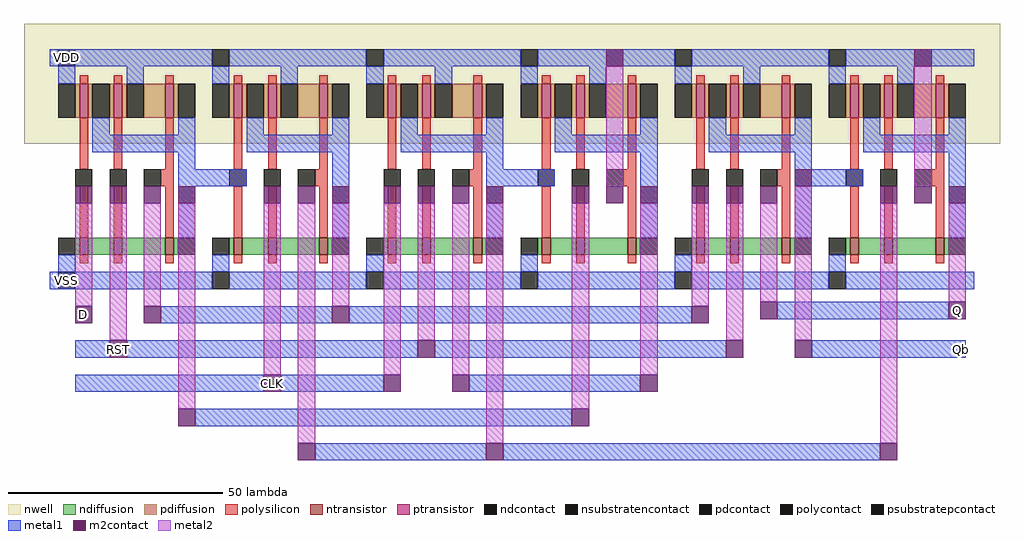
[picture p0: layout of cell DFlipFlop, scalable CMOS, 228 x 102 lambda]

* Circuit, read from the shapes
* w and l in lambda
.subckt DFlipFlop CLK D Q Qb RST VDD VSS
M1 n1 D VSS VSS nfet w=4 l=2
M2 n2 RST n1 VSS nfet w=4 l=2
M3 NAND3_1/A NAND3_4/A n2 VSS nfet w=4 l=2
M4 n3 NAND3_1/A VSS VSS nfet w=4 l=2
M5 n4 CLK n3 VSS nfet w=4 l=2
M6 NAND3_4/A NAND3_3/A n4 VSS nfet w=4 l=2
M7 n5 CLK VSS VSS nfet w=4 l=2
M8 n6 RST n5 VSS nfet w=4 l=2
M9 NAND3_3/A NAND3_2/C n6 VSS nfet w=4 l=2
M10 n7 NAND3_3/A VSS VSS nfet w=4 l=2
M11 n8 NAND3_1/A n7 VSS nfet w=4 l=2
M12 NAND3_2/C VDD n8 VSS nfet w=4 l=2
M13 n9 NAND3_4/A VSS VSS nfet w=4 l=2
M14 n10 RST n9 VSS nfet w=4 l=2
M15 Qb Q n10 VSS nfet w=4 l=2
M16 n11 Qb VSS VSS nfet w=4 l=2
M17 n12 NAND3_3/A n11 VSS nfet w=4 l=2
M18 Q VDD n12 VSS nfet w=4 l=2
M19 NAND3_1/A D VDD VDD pfet w=8 l=2
M20 VDD RST NAND3_1/A VDD pfet w=8 l=2
M21 NAND3_1/A NAND3_4/A VDD VDD pfet w=8 l=2
M22 NAND3_4/A NAND3_1/A VDD VDD pfet w=8 l=2
M23 VDD CLK NAND3_4/A VDD pfet w=8 l=2
M24 NAND3_4/A NAND3_3/A VDD VDD pfet w=8 l=2
M25 NAND3_3/A CLK VDD VDD pfet w=8 l=2
M26 VDD RST NAND3_3/A VDD pfet w=8 l=2
M27 NAND3_3/A NAND3_2/C VDD VDD pfet w=8 l=2
M28 NAND3_2/C NAND3_3/A VDD VDD pfet w=8 l=2
M29 VDD NAND3_1/A NAND3_2/C VDD pfet w=8 l=2
M30 NAND3_2/C VDD VDD VDD pfet w=8 l=2
M31 Qb NAND3_4/A VDD VDD pfet w=8 l=2
M32 VDD RST Qb VDD pfet w=8 l=2
M33 Qb Q VDD VDD pfet w=8 l=2
M34 Q Qb VDD VDD pfet w=8 l=2
M35 VDD NAND3_3/A Q VDD pfet w=8 l=2
M36 Q VDD VDD VDD pfet w=8 l=2
.ends

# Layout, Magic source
magic
tech scmos
<< metal1 >>
rect 0 52 6 56
rect 30 24 46 28
rect 102 24 118 28
rect 178 24 190 28
rect 0 0 6 4
rect 26 -8 66 -4
rect 70 -8 150 -4
rect 170 -7 210 -3
rect 6 -16 14 -12
rect 18 -16 86 -12
rect 90 -16 158 -12
rect 178 -16 214 -12
rect 6 -24 50 -20
rect 54 -24 78 -20
rect 98 -24 138 -20
rect 34 -32 122 -28
rect 62 -40 102 -36
rect 106 -40 194 -36
<< m2contact >>
rect 130 52 134 56
rect 202 52 206 56
rect 174 24 178 28
rect 6 20 10 24
rect 14 20 18 24
rect 22 20 26 24
rect 30 20 34 24
rect 50 20 54 24
rect 58 20 62 24
rect 66 20 70 24
rect 78 20 82 24
rect 86 20 90 24
rect 94 20 98 24
rect 102 20 106 24
rect 122 20 126 24
rect 130 20 134 24
rect 138 20 142 24
rect 150 20 154 24
rect 158 20 162 24
rect 166 20 170 24
rect 194 20 198 24
rect 202 20 206 24
rect 210 20 214 24
rect 6 -8 10 -4
rect 22 -8 26 -4
rect 66 -8 70 -4
rect 150 -8 154 -4
rect 166 -7 170 -3
rect 210 -7 214 -3
rect 14 -16 18 -12
rect 86 -16 90 -12
rect 158 -16 162 -12
rect 174 -16 178 -12
rect 50 -24 54 -20
rect 78 -24 82 -20
rect 94 -24 98 -20
rect 138 -24 142 -20
rect 30 -32 34 -28
rect 122 -32 126 -28
rect 58 -40 62 -36
rect 102 -40 106 -36
rect 194 -40 198 -36
<< metal2 >>
rect 130 24 134 52
rect 202 24 206 52
rect 6 -4 10 20
rect 14 -12 18 20
rect 22 -4 26 20
rect 30 -28 34 20
rect 50 -20 54 20
rect 58 -36 62 20
rect 66 -4 70 20
rect 78 -20 82 20
rect 86 -12 90 20
rect 94 -20 98 20
rect 102 -36 106 20
rect 122 -28 126 20
rect 138 -20 142 20
rect 150 -4 154 20
rect 158 -12 162 20
rect 166 -3 170 20
rect 174 -12 178 24
rect 194 -36 198 20
rect 210 -3 214 20
use NAND3  NAND3_0
transform 1 0 0 0 1 0
box -6 0 42 62
use NAND3  NAND3_1
transform 1 0 36 0 1 0
box -6 0 42 62
use NAND3  NAND3_2
transform 1 0 72 0 1 0
box -6 0 42 62
use NAND3  NAND3_3
transform 1 0 108 0 1 0
box -6 0 42 62
use NAND3  NAND3_4
transform 1 0 144 0 1 0
box -6 0 42 62
use NAND3  NAND3_5
transform 1 0 180 0 1 0
box -6 0 42 62
<< labels >>
rlabel m2contact 8 -6 8 -6 1 D
rlabel m2contact 16 -14 16 -14 1 RST
rlabel m2contact 52 -22 52 -22 1 CLK
rlabel metal1 4 2 4 2 1 VSS
rlabel metal1 4 54 4 54 1 VDD
rlabel m2contact 212 -5 212 -5 1 Q
rlabel metal1 213 -14 213 -14 1 Qb
<< end >>

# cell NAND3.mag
magic
tech scmos
<< nwell >>
rect -6 34 42 62
<< ntransistor >>
rect 7 8 9 12
rect 15 8 17 12
rect 27 8 29 12
<< ptransistor >>
rect 7 40 9 48
rect 15 40 17 48
rect 27 40 29 48
<< ndiffusion >>
rect 6 8 7 12
rect 9 8 15 12
rect 17 8 27 12
rect 29 8 30 12
<< pdiffusion >>
rect 6 40 7 48
rect 9 40 10 48
rect 14 40 15 48
rect 17 40 18 48
rect 22 40 27 48
rect 29 40 30 48
<< ndcontact >>
rect 2 8 6 12
rect 30 8 34 12
<< pdcontact >>
rect 2 40 6 48
rect 10 40 14 48
rect 18 40 22 48
rect 30 40 34 48
<< psubstratepcontact >>
rect 2 0 6 4
<< nsubstratencontact >>
rect 2 52 6 56
<< polysilicon >>
rect 7 48 9 50
rect 15 48 17 50
rect 27 48 29 50
rect 7 28 9 40
rect 15 28 17 40
rect 27 28 29 40
rect 26 24 29 28
rect 7 12 9 24
rect 15 12 17 24
rect 27 12 29 24
rect 7 6 9 8
rect 15 6 17 8
rect 27 6 29 8
<< polycontact >>
rect 6 24 10 28
rect 14 24 18 28
rect 22 24 26 28
<< metal1 >>
rect 0 52 2 56
rect 6 52 36 56
rect 2 48 6 52
rect 18 48 22 52
rect 10 36 14 40
rect 30 36 34 40
rect 10 32 34 36
rect 30 12 34 32
rect 2 4 6 8
rect 0 0 2 4
rect 6 0 36 4
<< labels >>
rlabel psubstratepcontact 4 2 4 2 1 VSS
rlabel nsubstratencontact 4 54 4 54 1 VDD
rlabel polycontact 24 26 24 26 1 C
rlabel metal1 32 26 32 26 1 Y
rlabel polycontact 8 26 8 26 1 A
rlabel polycontact 16 26 16 26 1 B
<< end >>
